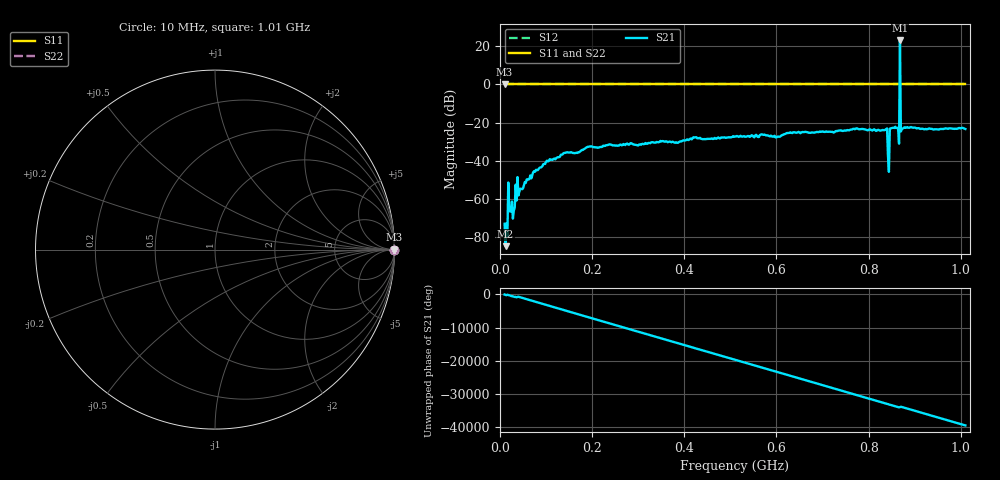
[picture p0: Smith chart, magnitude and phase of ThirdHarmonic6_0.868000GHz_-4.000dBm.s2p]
! 8/16/2025 4:39:35 AM
! C:\ANRITSUVNA\TEMP\TEMP.S2P
! CHANNEL.1
! TR.MEASUREMENT
! RAW.DATA
! RF.CORRECTION.OFF
! AVERAGING.OFF
! IF.BANDWIDTH: 5KHZ
! SWEEPTYPE:  FREQ.SWEEP(Linear)
! Reference Plane Port Info
! PORT:  PORT1  PORT2
! DISTANCE:  0  m  0  m
! TIME:  0  s  0  s
! PHASE.OFFSET:  0  deg.  0  deg.
! LOSS:  0  dB  0  dB
! REF.LOSS:  0  dB  0  dB
! REF.FREQ:  0  Hz  0  Hz
! Power Info
! POWER:  -20  dBm  -20  dBm
! EFF.POWER:  -20  dBm  -20  dBm
! SOURCE.ATTEN:  0  dB  0  dB
! TEST.ATTEN:  0  dB  0  dB
# GHZ S RI R 50.0
! FREQ.GHZ  S11RE  S11IM  S21RE  S21IM  S12RE  S12IM  S22RE  S22IM
!; PortSelection: Port_12
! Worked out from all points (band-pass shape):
!   501 points, 10 MHz to 1.01 GHz, reference 50 ohm
!   highest |S21| = 23.01 dB at 868 MHz (marker M1); lowest = -84.5 dB at 12 MHz (marker M2)
!   |S21| within 3 dB of the highest: 867.8888 MHz to 868.1261 MHz (237.4 kHz wide, 0.0273 % of centre)
!   lowest |S11| = 0.0 dB at 10 MHz (marker M3)
!   |S11| at or under -10 dB: nowhere
!   |S22| runs from 0.0 to 0.0 dB; largest |S21 - S12| = 13
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0.01  1 0  0.000207 -9.53e-05  1 0  1 0
0.012  1 0  -2.98e-05 -5.13e-05  1 0  1 0
0.022  1 0  0.000394 0.000269  1 0  1 0
0.024  1 0  -0.000124 -0.00046  1 0  1 0
0.028  1 0  -0.000229 0.000211  1 0  1 0
0.038  1 0  0.00347 -0.00154  1 0  1 0
0.076  1 0  0.00522 0.000153  1 0  1 0
0.142  1 0  -0.015 -0.00641  1 0  1 0
0.178  1 0  -0.0188 -0.00515  1 0  1 0
0.344  1 0  0.0303 -0.00525  1 0  1 0
0.51  1 0  -0.0421 0.0109  1 0  1 0
0.678  1 0  -0.017 -0.0528  1 0  1 0
0.836  1 0  0.0619 0.0197  1 0  1 0
0.84  1 0  -0.0587 -0.0398  1 0  1 0
0.844  1 0  0.00394 0.0034  1 0  1 0
0.85  1 0  -0.0716 0.00961  1 0  1 0
0.862  1 0  0.0511 0.0524  1 0  1 0
0.864  1 0  0.061 -0.041  1 0  1 0
0.868  1 0  9.759 -10.22  1 0  1 0
0.872  1 0  0.0677 0.00103  1 0  1 0
0.874  1 0  0.017 -0.068  1 0  1 0
1.01  1 0  -0.0613 -0.0305  1 0  1 0
